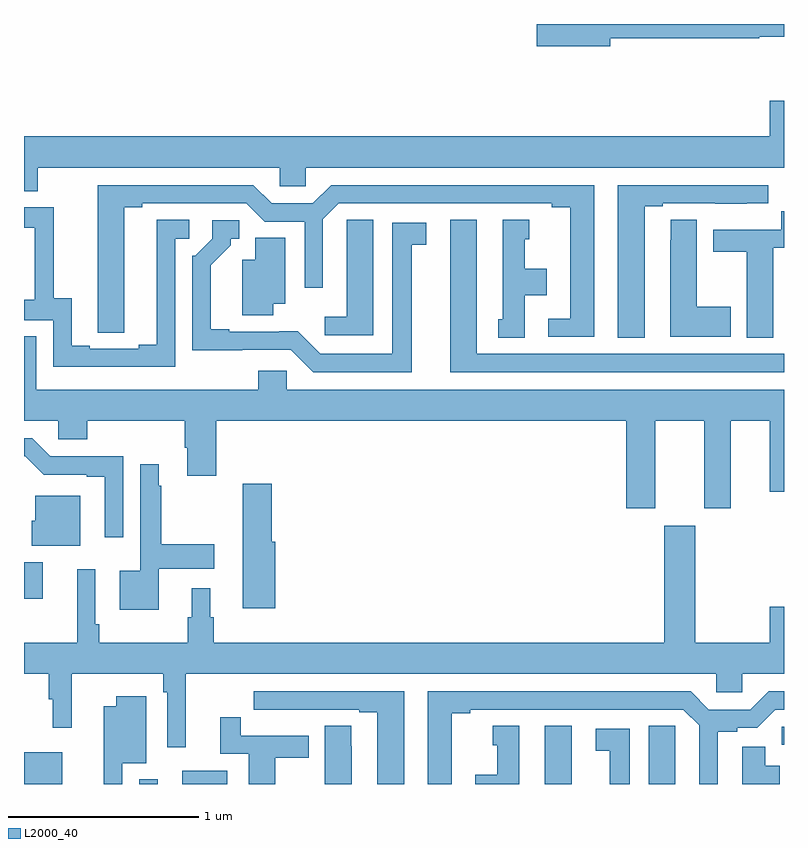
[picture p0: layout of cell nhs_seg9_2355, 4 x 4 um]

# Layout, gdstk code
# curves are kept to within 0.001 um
import gdstk
lib = gdstk.Library(unit=1e-6, precision=1e-09)
def R(c, l, rs):  # rectangles x0, y0, x1, y1
    for r in rs: c.add(gdstk.rectangle(r[:2], r[2:], *l))
def P(c, l, *ps):  # polygons
    for p in ps: c.add(gdstk.Polygon(p, *l))
L2000_40 = (2000, 40)

nhs_seg9_2355 = lib.new_cell('nhs_seg9_2355')
R(nhs_seg9_2355, L2000_40, [(245,1202.5,245.2,1202.668), (245.607,1202.5,245.704,1202.524), (245.834,1202.5,246.07,1202.569), (247.742,1202.5,247.882,1202.806), (248.988,1202.706,249,1202.802), (245,1203.474,245.099,1203.666)])
P(nhs_seg9_2355, L2000_40, [(248.086,1206.424),(248.871,1206.424),(248.871,1206.432),(249,1206.432),(249,1206.5),(247.698,1206.5),(247.698,1206.382),(248.086,1206.382)],
  [(245.073,1205.744),(246.345,1205.744),(246.345,1205.646),(246.483,1205.646),(246.483,1205.744),(249,1205.744),(249,1206.097),(248.924,1206.097),(248.924,1205.908),(245,1205.908),(245,1205.62),(245.073,1205.62)],
  [(248.002,1205.652),(246.617,1205.652),(246.521,1205.556),(246.303,1205.556),(246.207,1205.652),(245.387,1205.652),(245.388,1204.876),(245.527,1204.876),(245.527,1205.536),(245.623,1205.536),(245.623,1205.556),(246.171,1205.556),(246.267,1205.46),(246.477,1205.46),(246.477,1205.112),(246.573,1205.112),(246.573,1205.472),(246.657,1205.556),(247.778,1205.556),(247.778,1205.536),(247.874,1205.536),(247.874,1204.95),(247.758,1204.95),(247.758,1204.854),(248.002,1204.854)],
  [(248.266,1205.541),(248.362,1205.541),(248.362,1205.556),(248.638,1205.556),(248.638,1205.555),(248.804,1205.555),(248.804,1205.556),(248.917,1205.556),(248.917,1205.652),(248.126,1205.652),(248.126,1204.849),(248.266,1204.849)],
  [(245.796,1205.37),(245.869,1205.37),(245.869,1205.471),(245.699,1205.471),(245.699,1204.811),(245.603,1204.811),(245.603,1204.791),(245.347,1204.791),(245.347,1204.806),(245.251,1204.806),(245.251,1205.057),(245.157,1205.057),(245.157,1205.535),(245,1205.535),(245,1205.427),(245.057,1205.427),(245.057,1205.05),(245,1205.05),(245,1204.941),(245.154,1204.941),(245.154,1204.695),(245.796,1204.695)],
  [(248.943,1204.96),(248.944,1204.96),(248.944,1205.322),(249,1205.322),(249,1205.515),(248.986,1205.515),(248.986,1205.418),(248.627,1205.418),(248.627,1205.302),(248.804,1205.302),(248.804,1204.849),(248.943,1204.849)],
  [(246.838,1205.471),(246.699,1205.471),(246.699,1205.363),(246.698,1205.363),(246.698,1204.96),(246.582,1204.96),(246.582,1204.863),(246.838,1204.863)],
  [(248.719,1205.013),(248.542,1205.013),(248.542,1205.471),(248.403,1205.471),(248.403,1205.363),(248.402,1205.363),(248.402,1204.853),(248.719,1204.853)],
  [(249,1204.764),(247.384,1204.764),(247.384,1205.47),(247.244,1205.47),(247.244,1204.668),(249,1204.668)],
  [(247.636,1205.072),(247.75,1205.072),(247.75,1205.212),(247.636,1205.212),(247.636,1205.367),(247.66,1205.367),(247.66,1205.47),(247.52,1205.47),(247.52,1204.947),(247.496,1204.947),(247.496,1204.849),(247.636,1204.849)],
  [(247.042,1205.338),(247.117,1205.338),(247.117,1205.454),(246.938,1205.454),(246.938,1204.764),(246.558,1204.764),(246.44,1204.882),(246.079,1204.881),(246.079,1204.894),(245.983,1204.894),(245.983,1205.23),(246.088,1205.335),(246.088,1205.37),(246.133,1205.37),(246.133,1205.466),(245.991,1205.466),(245.991,1205.37),(245.901,1205.28),(245.886,1205.28),(245.886,1204.784),(246.405,1204.785),(246.522,1204.668),(247.042,1204.668)],
  [(246.313,1205.027),(246.376,1205.027),(246.376,1205.375),(246.218,1205.375),(246.218,1205.26),(246.149,1205.26),(246.149,1204.966),(246.313,1204.966)],
  [(248.323,1204.412),(248.579,1204.412),(248.579,1203.951),(248.719,1203.951),(248.719,1204.412),(248.924,1204.412),(248.924,1204.038),(249,1204.038),(249,1204.576),(246.384,1204.576),(246.384,1204.674),(246.233,1204.674),(246.233,1204.576),(245.065,1204.576),(245.065,1204.856),(245,1204.856),(245,1204.412),(245.181,1204.412),(245.181,1204.314),(245.333,1204.314),(245.333,1204.412),(245.846,1204.412),(245.846,1204.27),(245.858,1204.27),(245.858,1204.122),(246.011,1204.122),(246.011,1204.412),(248.171,1204.412),(248.171,1203.951),(248.323,1203.951)],
  [(245.523,1204.224),(245.139,1204.224),(245.043,1204.32),(245,1204.32),(245,1204.224),(245.007,1204.224),(245.103,1204.128),(245.33,1204.128),(245.33,1204.116),(245.426,1204.116),(245.426,1203.798),(245.523,1203.798)],
  [(245.71,1203.632),(246.001,1203.632),(246.001,1203.762),(245.722,1203.762),(245.722,1204.07),(245.71,1204.07),(245.71,1204.183),(245.613,1204.183),(245.613,1203.622),(245.504,1203.622),(245.504,1203.416),(245.71,1203.416)],
  [(246.323,1203.774),(246.305,1203.774),(246.305,1204.081),(246.151,1204.081),(246.151,1203.774),(246.152,1203.774),(246.152,1203.426),(246.323,1203.426)],
  [(245.296,1204.018),(245.06,1204.018),(245.06,1203.885),(245.042,1203.885),(245.042,1203.755),(245.296,1203.755)],
  [(245.852,1203.08),(248.643,1203.08),(248.643,1202.982),(248.781,1202.982),(248.781,1203.08),(249,1203.08),(249,1203.433),(248.924,1203.433),(248.924,1203.244),(248.533,1203.244),(248.533,1203.859),(248.369,1203.859),(248.369,1203.244),(245.999,1203.244),(245.999,1203.378),(245.98,1203.378),(245.98,1203.529),(245.882,1203.529),(245.882,1203.378),(245.863,1203.378),(245.863,1203.244),(245.396,1203.244),(245.396,1203.34),(245.376,1203.34),(245.376,1203.631),(245.279,1203.631),(245.279,1203.244),(245,1203.244),(245,1203.08),(245.131,1203.08),(245.131,1202.946),(245.15,1202.946),(245.15,1202.796),(245.25,1202.796),(245.25,1203.08),(245.734,1203.08),(245.734,1202.984),(245.754,1202.984),(245.754,1202.694),(245.852,1202.694)],
  [(247.252,1202.872),(247.348,1202.872),(247.348,1202.892),(248.469,1202.892),(248.553,1202.808),(248.553,1202.5),(248.65,1202.5),(248.65,1202.776),(248.754,1202.776),(248.754,1202.796),(248.859,1202.796),(248.955,1202.892),(249,1202.892),(249,1202.988),(248.919,1202.988),(248.823,1202.892),(248.605,1202.892),(248.509,1202.988),(247.124,1202.988),(247.124,1202.5),(247.252,1202.5)],
  [(247,1202.988),(246.21,1202.988),(246.21,1202.892),(246.322,1202.892),(246.322,1202.891),(246.488,1202.891),(246.488,1202.892),(246.764,1202.892),(246.764,1202.877),(246.86,1202.877),(246.86,1202.5),(247,1202.5)],
  [(245.517,1202.609),(245.644,1202.609),(245.644,1202.962),(245.486,1202.962),(245.486,1202.908),(245.42,1202.908),(245.42,1202.613),(245.419,1202.613),(245.419,1202.5),(245.517,1202.5)],
  [(246.322,1202.638),(246.499,1202.638),(246.499,1202.754),(246.14,1202.754),(246.14,1202.851),(246.032,1202.851),(246.032,1202.658),(246.182,1202.658),(246.182,1202.5),(246.322,1202.5)],
  [(248.428,1202.699),(248.427,1202.699),(248.427,1202.807),(248.288,1202.807),(248.288,1202.5),(248.428,1202.5)],
  [(246.724,1202.699),(246.723,1202.699),(246.723,1202.807),(246.584,1202.807),(246.584,1202.5),(246.724,1202.5)],
  [(247.606,1202.806),(247.466,1202.806),(247.466,1202.703),(247.49,1202.703),(247.49,1202.548),(247.376,1202.548),(247.376,1202.5),(247.606,1202.5)],
  [(248.188,1202.79),(248.01,1202.79),(248.01,1202.674),(248.084,1202.674),(248.084,1202.5),(248.188,1202.5)],
  [(248.977,1202.596),(248.902,1202.596),(248.902,1202.695),(248.78,1202.695),(248.78,1202.5),(248.977,1202.5)])

lib.write_gds('nhs_seg9_2355.gds')
